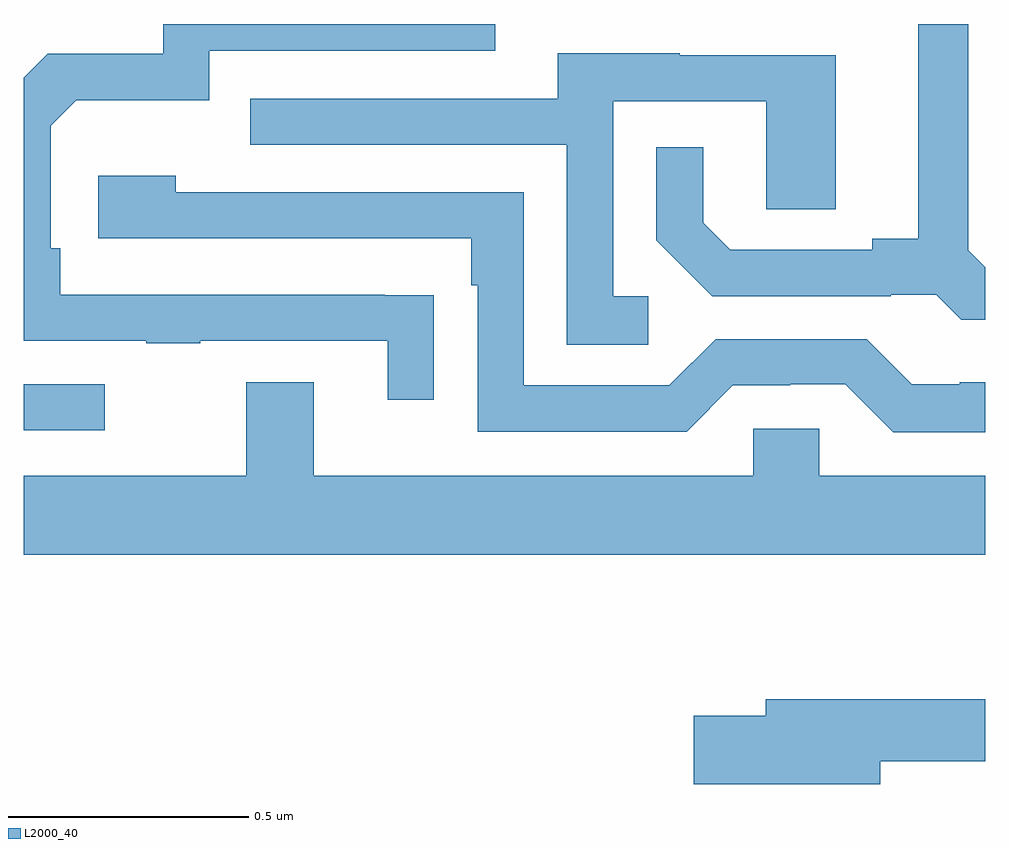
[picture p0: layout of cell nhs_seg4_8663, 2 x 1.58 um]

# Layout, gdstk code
import gdstk
lib = gdstk.Library(unit=1e-6, precision=1e-09)
def R(c, l, rs):  # rectangles x0, y0, x1, y1
    for r in rs: c.add(gdstk.rectangle(r[:2], r[2:], *l))
def P(c, l, *ps):  # polygons
    for p in ps: c.add(gdstk.Polygon(p, *l))
L2000_40 = (2000, 40)

nhs_seg4_8663 = lib.new_cell('nhs_seg4_8663')
R(nhs_seg4_8663, L2000_40, [(217,821.055,217.168,821.151)])
P(nhs_seg4_8663, L2000_40, [(219,821.394),(218.965,821.429),(218.965,821.9),(218.861,821.9),(218.861,821.453),(218.765,821.453),(218.765,821.43),(218.47,821.43),(218.413,821.487),(218.413,821.644),(218.316,821.644),(218.316,821.45),(218.432,821.334),(218.804,821.334),(218.804,821.337),(218.898,821.337),(218.95,821.285),(219,821.285)],
  [(217.853,821.336),(217.751,821.336),(217.751,821.337),(217.076,821.337),(217.076,821.434),(217.056,821.434),(217.056,821.688),(217.109,821.741),(217.386,821.741),(217.386,821.844),(217.981,821.844),(217.981,821.9),(217.29,821.9),(217.29,821.838),(217.05,821.838),(217,821.788),(217,821.241),(217.255,821.241),(217.255,821.236),(217.367,821.236),(217.367,821.241),(217.757,821.241),(217.757,821.118),(217.853,821.118)],
  [(218.299,821.334),(218.226,821.334),(218.226,821.739),(218.544,821.739),(218.544,821.515),(218.689,821.515),(218.689,821.835),(218.365,821.835),(218.365,821.839),(218.111,821.839),(218.111,821.745),(217.471,821.745),(217.471,821.649),(218.13,821.649),(218.13,821.233),(218.299,821.233)],
  [(219,821.155),(218.947,821.155),(218.947,821.151),(218.847,821.151),(218.754,821.244),(218.439,821.244),(218.343,821.148),(218.04,821.148),(218.04,821.55),(217.316,821.55),(217.316,821.584),(217.155,821.584),(217.155,821.454),(217.931,821.454),(217.931,821.357),(217.944,821.357),(217.944,821.052),(218.379,821.052),(218.475,821.148),(218.594,821.148),(218.594,821.151),(218.709,821.151),(218.809,821.051),(219,821.051)],
  [(219,820.96),(218.655,820.96),(218.655,821.058),(218.517,821.058),(218.517,820.96),(217.603,820.96),(217.603,821.155),(217.463,821.155),(217.463,820.96),(217,820.96),(217,820.796),(219,820.796)],
  [(218.782,820.366),(219,820.366),(219,820.495),(218.543,820.495),(218.543,820.461),(218.394,820.461),(218.394,820.319),(218.782,820.319)])

lib.write_gds('nhs_seg4_8663.gds')
